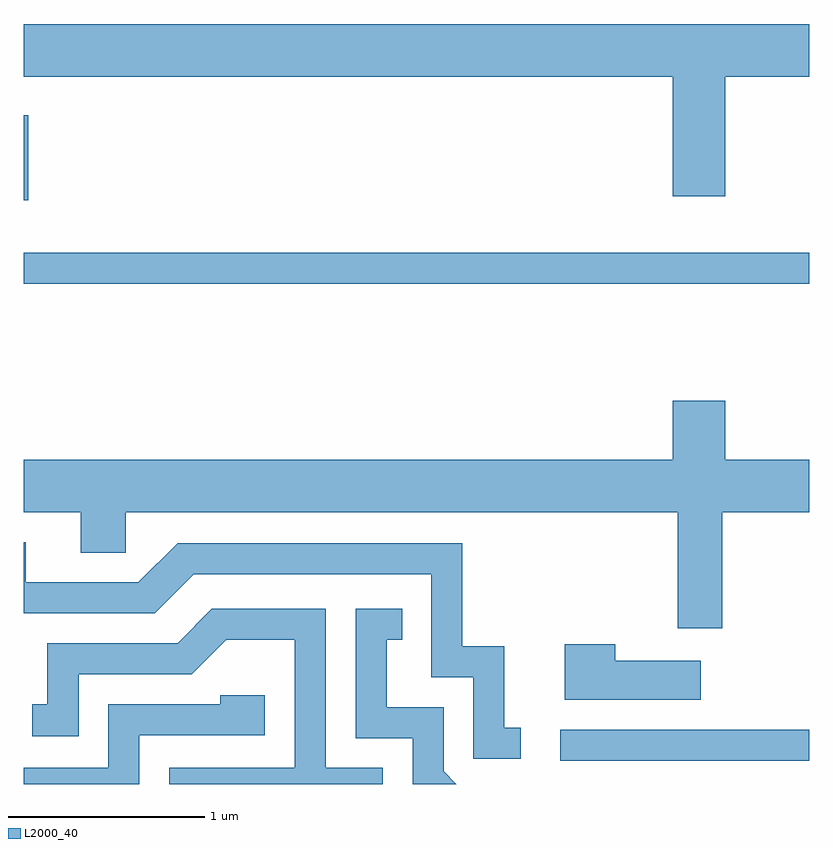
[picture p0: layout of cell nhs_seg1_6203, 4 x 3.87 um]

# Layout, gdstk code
import gdstk
lib = gdstk.Library(unit=1e-6, precision=1e-09)
def R(c, l, rs):  # rectangles x0, y0, x1, y1
    for r in rs: c.add(gdstk.rectangle(r[:2], r[2:], *l))
def P(c, l, *ps):  # polygons
    for p in ps: c.add(gdstk.Polygon(p, *l))
L2000_40 = (2000, 40)

nhs_seg1_6203 = lib.new_cell('nhs_seg1_6203')
R(nhs_seg1_6203, L2000_40, [(374.343,933.831,375.611,933.989), (371.611,936.261,375.611,936.419), (371.611,936.686,371.634,937.119)])
P(nhs_seg1_6203, L2000_40, [(375.184,937.316),(375.611,937.316),(375.611,937.584),(371.611,937.584),(371.611,937.316),(374.916,937.316),(374.916,936.706),(375.184,936.706)],
  [(375.169,935.096),(375.611,935.096),(375.611,935.364),(375.184,935.364),(375.184,935.664),(374.916,935.664),(374.916,935.364),(371.611,935.364),(371.611,935.096),(371.901,935.096),(371.901,934.891),(372.129,934.891),(372.129,935.096),(374.941,935.096),(374.941,934.506),(375.169,934.506)],
  [(374.143,933.999),(374.059,933.999),(374.059,934.414),(373.844,934.414),(373.844,934.939),(372.394,934.939),(372.194,934.739),(371.619,934.739),(371.619,934.944),(371.611,934.944),(371.611,934.581),(372.277,934.581),(372.477,934.781),(373.686,934.781),(373.686,934.256),(373.901,934.256),(373.901,933.841),(374.143,933.841)],
  [(373.749,933.777),(373.749,934.104),(373.459,934.104),(373.459,934.446),(373.538,934.446),(373.538,934.604),(373.301,934.604),(373.301,933.946),(373.591,933.946),(373.591,933.712),(373.814,933.712)],
  [(373.439,933.794),(373.149,933.794),(373.149,934.604),(372.569,934.604),(372.394,934.429),(371.731,934.429),(371.731,934.119),(371.653,934.119),(371.653,933.956),(371.889,933.956),(371.889,934.271),(372.467,934.271),(372.642,934.446),(372.991,934.446),(372.991,933.794),(372.351,933.794),(372.351,933.712),(373.439,933.712)],
  [(375.059,934.339),(374.624,934.339),(374.624,934.424),(374.366,934.424),(374.366,934.141),(375.059,934.141)],
  [(372.199,933.961),(372.839,933.961),(372.839,934.164),(372.611,934.164),(372.611,934.119),(372.041,934.119),(372.041,933.794),(371.611,933.794),(371.611,933.712),(372.199,933.712)])

lib.write_gds('nhs_seg1_6203.gds')
